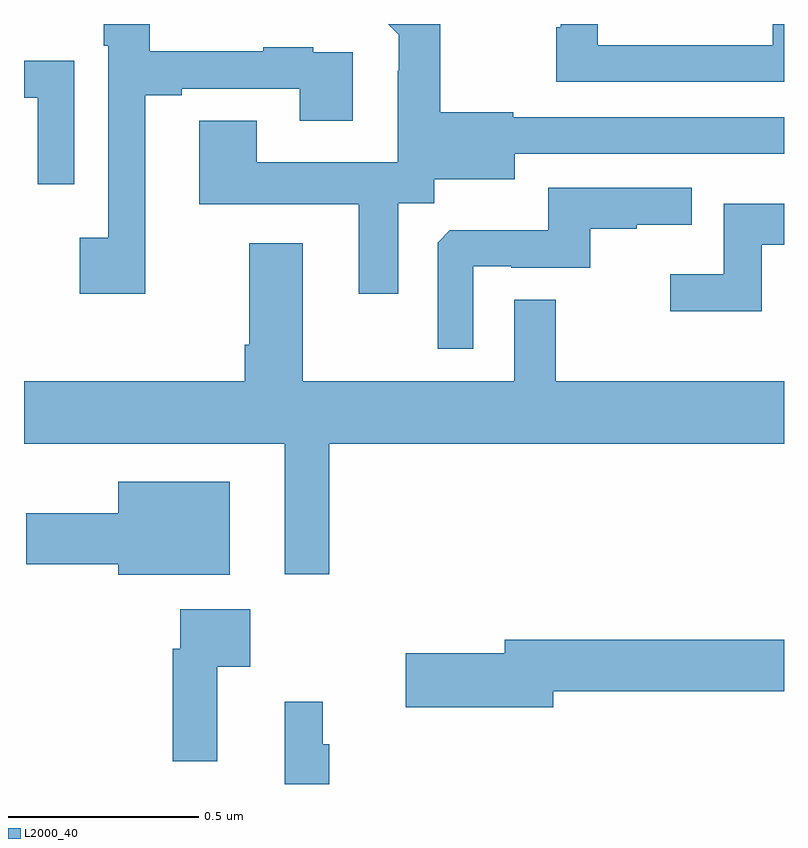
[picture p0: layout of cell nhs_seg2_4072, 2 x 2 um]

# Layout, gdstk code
import gdstk
lib = gdstk.Library(unit=1e-6, precision=1e-09)
def P(c, l, *ps):  # polygons
    for p in ps: c.add(gdstk.Polygon(p, *l))
L2000_40 = (2000, 40)

nhs_seg2_4072 = lib.new_cell('nhs_seg2_4072')
P(nhs_seg2_4072, L2000_40, [(162.319,588.612),(162.415,588.612),(162.415,588.63),(162.725,588.63),(162.725,588.546),(162.865,588.546),(162.865,588.726),(162.761,588.726),(162.761,588.739),(162.629,588.739),(162.629,588.728),(162.331,588.728),(162.331,588.8),(162.21,588.8),(162.21,588.743),(162.222,588.743),(162.222,588.238),(162.147,588.238),(162.147,588.09),(162.319,588.09)],
  [(164,588.8),(163.97,588.8),(163.97,588.744),(163.51,588.744),(163.51,588.8),(163.412,588.8),(163.412,588.792),(163.401,588.792),(163.401,588.648),(164,588.648)],
  [(162.985,588.328),(163.08,588.328),(163.08,588.392),(163.291,588.392),(163.291,588.459),(163.849,588.459),(163.849,588.458),(164,588.458),(164,588.555),(163.287,588.555),(163.287,588.568),(163.095,588.568),(163.095,588.8),(162.958,588.8),(162.986,588.772),(162.986,588.677),(162.984,588.677),(162.984,588.436),(162.613,588.436),(162.613,588.545),(162.461,588.545),(162.461,588.326),(162.881,588.326),(162.881,588.09),(162.985,588.09)],
  [(162.132,588.703),(162,588.703),(162,588.606),(162.036,588.606),(162.036,588.378),(162.132,588.378)],
  [(163.182,588.162),(163.282,588.162),(163.282,588.159),(163.49,588.159),(163.49,588.261),(163.613,588.261),(163.613,588.272),(163.757,588.272),(163.757,588.369),(163.38,588.369),(163.38,588.257),(163.121,588.257),(163.089,588.225),(163.089,587.945),(163.182,587.945)],
  [(163.941,588.219),(164,588.219),(164,588.327),(163.842,588.327),(163.842,588.142),(163.701,588.142),(163.701,588.044),(163.941,588.044)],
  [(162.803,587.696),(164,587.696),(164,587.86),(163.399,587.86),(163.399,588.074),(163.29,588.074),(163.29,587.86),(162.733,587.86),(162.733,588.223),(162.593,588.223),(162.593,587.956),(162.581,587.956),(162.581,587.86),(162,587.86),(162,587.696),(162.686,587.696),(162.686,587.352),(162.803,587.352)],
  [(162.541,587.596),(162.248,587.596),(162.248,587.512),(162.006,587.512),(162.006,587.378),(162.248,587.378),(162.248,587.351),(162.541,587.351)],
  [(162.509,587.108),(162.595,587.108),(162.595,587.26),(162.411,587.26),(162.411,587.156),(162.391,587.156),(162.391,586.86),(162.509,586.86)],
  [(163.393,587.044),(164,587.044),(164,587.18),(163.265,587.18),(163.265,587.144),(163.005,587.144),(163.005,587.002),(163.393,587.002)],
  [(162.803,586.904),(162.786,586.904),(162.786,587.017),(162.686,587.017),(162.686,586.8),(162.803,586.8)])

lib.write_gds('nhs_seg2_4072.gds')
